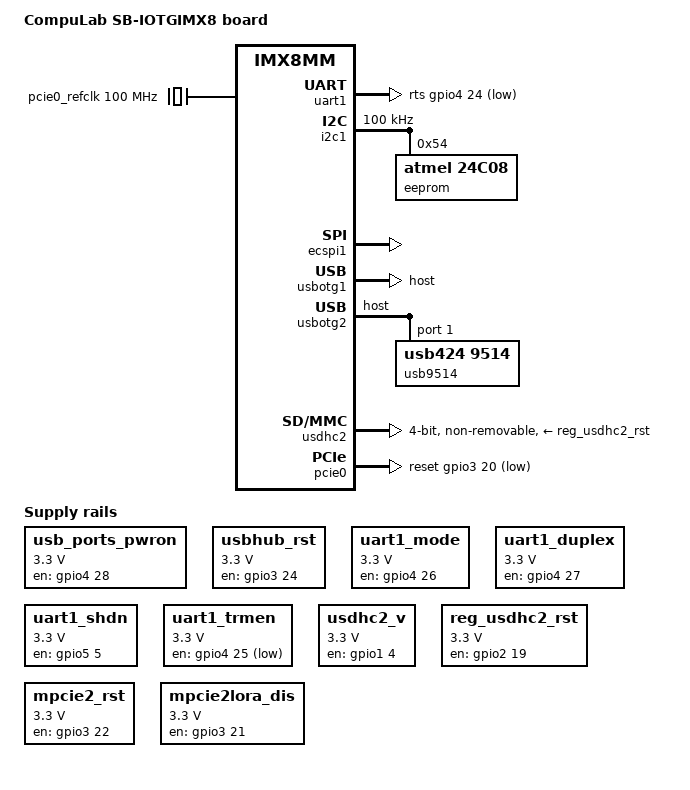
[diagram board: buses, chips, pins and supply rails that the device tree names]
/*
 * Copyright (C) 2020 CompuLab Ltd.
 *
 * This program is free software; you can redistribute it and/or
 * modify it under the terms of the GNU General Public License
 * as published by the Free Software Foundation; either version 2
 * of the License, or (at your option) any later version.
 *
 * This program is distributed in the hope that it will be useful,
 * but WITHOUT ANY WARRANTY; without even the implied warranty of
 * MERCHANTABILITY or FITNESS FOR A PARTICULAR PURPOSE. See the
 * GNU General Public License for more details.
 */

/dts-v1/;

#include "ucm-imx8m-mini.dtsi"

/ {
	model = "CompuLab SB-IOTGIMX8 board";
	compatible = "sb-iotgimx8", "cpl,ucm-imx8m-mini", "fsl,imx8mm";

	regulator-usb-ports-pwron {
		compatible = "regulator-fixed";
		regulator-name = "usb_ports_pwron";
		regulator-min-microvolt = <3300000>;
		regulator-max-microvolt = <3300000>;
		gpio = <&gpio4 28 GPIO_ACTIVE_HIGH>;
		regulator-always-on;
		enable-active-high;
		regulator-boot-on;
	};

	regulator-usbhub-rst {
		compatible = "regulator-fixed";
		regulator-name = "usbhub_rst";
		regulator-min-microvolt = <3300000>;
		regulator-max-microvolt = <3300000>;
		gpio = <&gpio3 24 GPIO_ACTIVE_HIGH>;
		regulator-always-on;
		enable-active-high;
	};

	regulator-uart1-mode {
		compatible = "regulator-fixed";
		regulator-name = "uart1_mode";
		regulator-min-microvolt = <3300000>;
		regulator-max-microvolt = <3300000>;
		gpio = <&gpio4 26 GPIO_ACTIVE_HIGH>;
		enable-active-high;
		regulator-always-on;
	};

	regulator-uart1-duplex {
		compatible = "regulator-fixed";
		regulator-name = "uart1_duplex";
		regulator-min-microvolt = <3300000>;
		regulator-max-microvolt = <3300000>;
		gpio = <&gpio4 27 GPIO_ACTIVE_HIGH>;
		regulator-always-on;
		enable-active-high;
	};

	regulator-uart1-shdn {
		compatible = "regulator-fixed";
		regulator-name = "uart1_shdn";
		regulator-min-microvolt = <3300000>;
		regulator-max-microvolt = <3300000>;
		gpio = <&gpio5 5 GPIO_ACTIVE_HIGH>;
		regulator-always-on;
		enable-active-high;
	};

	regulator-uart1-trmen {
		compatible = "regulator-fixed";
		regulator-name = "uart1_trmen";
		regulator-min-microvolt = <3300000>;
		regulator-max-microvolt = <3300000>;
		gpio = <&gpio4 25 GPIO_ACTIVE_LOW>;
		regulator-always-on;
		enable-active-low;
	};

	regulator-usdhc2_v {
		compatible = "regulator-fixed";
		regulator-name = "usdhc2_v";
		regulator-min-microvolt = <3300000>;
		regulator-max-microvolt = <3300000>;
		gpio = <&gpio1 4 GPIO_ACTIVE_HIGH>;
		regulator-always-on;
		enable-active-high;
	};

	reg_usdhc2_rst: regulator-usdhc2_rst {
		compatible = "regulator-fixed";
		pinctrl-names = "default";
		pinctrl-0 = <&pinctrl_reg_usdhc2_rst>;
		regulator-name = "usdhc2_rst";
		regulator-min-microvolt = <3300000>;
		regulator-max-microvolt = <3300000>;
		gpio = <&gpio2 19 GPIO_ACTIVE_HIGH>;
		startup-delay-us = <100>;
		off-on-delay-us = <12000>;
		enable-active-high;
	};

	regulator-mpcie2_rst {
		compatible = "regulator-fixed";
		regulator-name = "mpcie2_rst";
		regulator-min-microvolt = <3300000>;
		regulator-max-microvolt = <3300000>;
		gpio = <&gpio3 22 GPIO_ACTIVE_HIGH>;
		regulator-always-on;
		enable-active-high;
	};

	regulator-mpcie2lora_dis {
		compatible = "regulator-fixed";
		regulator-name = "mpcie2lora_dis";
		regulator-min-microvolt = <3300000>;
		regulator-max-microvolt = <3300000>;
		gpio = <&gpio3 21 GPIO_ACTIVE_HIGH>;
		regulator-always-on;
		enable-active-high;
	};

	pcie0_refclk: pcie0-refclk {
		compatible = "fixed-clock";
		#clock-cells = <0>;
		clock-frequency = <100000000>;
	};
};

&uart1 {
	pinctrl-names = "default";
	pinctrl-0 = <&pinctrl_uart1 &pinctrl_uart1_gpio>;
	assigned-clocks = <&clk IMX8MM_CLK_UART1>;
	assigned-clock-parents = <&clk IMX8MM_SYS_PLL1_80M>;
	linux,rs485-enabled-at-boot-time;
	rs485-rts-active-high;
	rts-gpios = <&gpio4 24 GPIO_ACTIVE_LOW>;
	status = "okay";
};

&i2c1 {
	clock-frequency = <100000>;
	pinctrl-names = "default";
	pinctrl-0 = <&pinctrl_i2c1>;
	status = "okay";

	eeprom@54 {
		compatible = "atmel,24c08";
		reg = <0x54>;
		pagesize = <16>;
	};
};

&ecspi1 {
	#address-cells = <1>;
	#size-cells = <0>;
	fsl,spi-num-chipselects = <1>;
	pinctrl-names = "default";
	pinctrl-0 = <&pinctrl_ecspi1 &pinctrl_ecspi1_cs>;
	cs-gpios = <&gpio5 9 GPIO_ACTIVE_LOW>;
	status = "okay";
};

&uart4 {
	/delete-node/ bluetooth;
};

&usbotg1 {
	dr_mode = "host";
	disable-over-current;
	status = "okay";
};

&usbotg2 {
	dr_mode = "host";
	disable-over-current;
	status = "okay";

	#address-cells = <1>;
	#size-cells = <0>;

	usb9514@1 {
		compatible = "usb424,9514";
		pinctrl-names = "default";
		pinctrl-0 = <&pinctrl_usb9514>;
		reg = <1>;
		#address-cells = <1>;
		#size-cells = <0>;

		ethernet: usbether@1 {
			compatible = "usb424,ec00";
			reg = <1>;
		};
	};
};

&usdhc1 {
	status = "disabled";
};

&usdhc2 {
	pinctrl-names = "default";
	pinctrl-0 = <&pinctrl_usdhc2>;
	bus-width = <4>;
	mmc-ddr-1_8v;
	no-mmc-hs400;
	non-removable;
	vmmc-supply = <&reg_usdhc2_rst>;
	status = "okay";
};

&pcie0 {
	pinctrl-names = "default";
	pinctrl-0 = <&pinctrl_pcie0>;
	reset-gpio = <&gpio3 20 GPIO_ACTIVE_LOW>;
	clocks = <&clk IMX8MM_CLK_PCIE1_ROOT>,
		 <&clk IMX8MM_CLK_PCIE1_AUX>,
		 <&clk IMX8MM_CLK_PCIE1_PHY>,
		 <&pcie0_refclk>;
	clock-names = "pcie", "pcie_aux", "pcie_phy", "pcie_bus";
	assigned-clocks = <&clk IMX8MM_CLK_PCIE1_AUX>,
			  <&clk IMX8MM_CLK_PCIE1_PHY>,
			  <&clk IMX8MM_CLK_PCIE1_CTRL>;
	assigned-clock-rates = <10000000>, <100000000>, <250000000>;
	assigned-clock-parents = <&clk IMX8MM_SYS_PLL2_50M>,
				 <&clk IMX8MM_SYS_PLL2_100M>,
				 <&clk IMX8MM_SYS_PLL2_250M>;
	ext_osc = <1>;
	status = "okay";
};

&iomuxc {
	pinctrl-names = "default";
	pinctrl-0 = <&pinctrl_hog_sb_iotgimx8>;

	sb-iotgimx8 {
		pinctrl_hog_sb_iotgimx8: hoggrp_sb-iotgimx8 {
			fsl,pins = <
				/* mPCIe2 */
				MX8MM_IOMUXC_SAI5_RXD0_GPIO3_IO21	0x140 /* mPCIe2_LORA_DISABLE */
				MX8MM_IOMUXC_SAI5_RXD1_GPIO3_IO22	0x140 /* mPCIe2_PERSTn */
			>;
		};

		pinctrl_uart1: uart1grp {
			fsl,pins = <
				MX8MM_IOMUXC_SAI2_RXC_UART1_DCE_RX	0x140
				MX8MM_IOMUXC_SAI2_RXFS_UART1_DCE_TX	0x140
				MX8MM_IOMUXC_SAI2_TXFS_GPIO4_IO24	0x140 /* RTS */
				MX8MM_IOMUXC_SAI2_RXD0_UART1_DCE_RTS_B	0x140 /* CTS */
			>;
		};

		pinctrl_uart1_gpio: uart1gpiogrp {
			fsl,pins = <
				MX8MM_IOMUXC_SAI2_TXD0_GPIO4_IO26	0x000 /* RS_485_232_SEL */
				MX8MM_IOMUXC_SAI2_MCLK_GPIO4_IO27	0x140 /* RS_485_H/F_SEL */
				MX8MM_IOMUXC_SPDIF_EXT_CLK_GPIO5_IO5	0x140 /* SHDN */
				MX8MM_IOMUXC_SAI2_TXC_GPIO4_IO25	0x140 /* RS_485_TRMEN */
			>;
		};

		pinctrl_i2c1: i2c1grp {
			fsl,pins = <
				MX8MM_IOMUXC_I2C1_SCL_I2C1_SCL		0x400001c3
				MX8MM_IOMUXC_I2C1_SDA_I2C1_SDA		0x400001c3
			>;
		};

		pinctrl_ecspi1: ecspi1grp {
			fsl,pins = <
				MX8MM_IOMUXC_ECSPI1_SCLK_ECSPI1_SCLK	0x82
				MX8MM_IOMUXC_ECSPI1_MOSI_ECSPI1_MOSI	0x82
				MX8MM_IOMUXC_ECSPI1_MISO_ECSPI1_MISO	0x82
			>;
		};

		pinctrl_ecspi1_cs: ecspi1cs {
			fsl,pins = <
				MX8MM_IOMUXC_ECSPI1_SS0_GPIO5_IO9	0x40000
			>;
		};

		pinctrl_usb9514: usb9514grp {
			fsl,pins = <
				MX8MM_IOMUXC_SAI3_RXFS_GPIO4_IO28	0x140 /* USB_PS_EN */
				MX8MM_IOMUXC_SAI5_RXD3_GPIO3_IO24	0x140 /* HUB_RSTn */
			>;
		};

		pinctrl_usdhc2: usdhc2grp {
			fsl,pins = <
				MX8MM_IOMUXC_SD2_CLK_USDHC2_CLK		0x190
				MX8MM_IOMUXC_SD2_CMD_USDHC2_CMD		0x1d0
				MX8MM_IOMUXC_SD2_DATA0_USDHC2_DATA0	0x1d0
				MX8MM_IOMUXC_SD2_DATA1_USDHC2_DATA1	0x1d0
				MX8MM_IOMUXC_SD2_DATA2_USDHC2_DATA2	0x1d0
				MX8MM_IOMUXC_SD2_DATA3_USDHC2_DATA3	0x1d0
				MX8MM_IOMUXC_GPIO1_IO04_GPIO1_IO4	0x1d0 /* SD2_VSEL */
			>;
		};

		pinctrl_reg_usdhc2_rst: usdhc2rst {
			fsl,pins = <
				MX8MM_IOMUXC_SD2_RESET_B_GPIO2_IO19	0x41  /* EMMC_RST */
			>;
		};

		pinctrl_pcie0: pcie0grp {
			fsl,pins = <
				MX8MM_IOMUXC_SAI5_RXC_GPIO3_IO20	0x140
			>;
		};
	};
};
